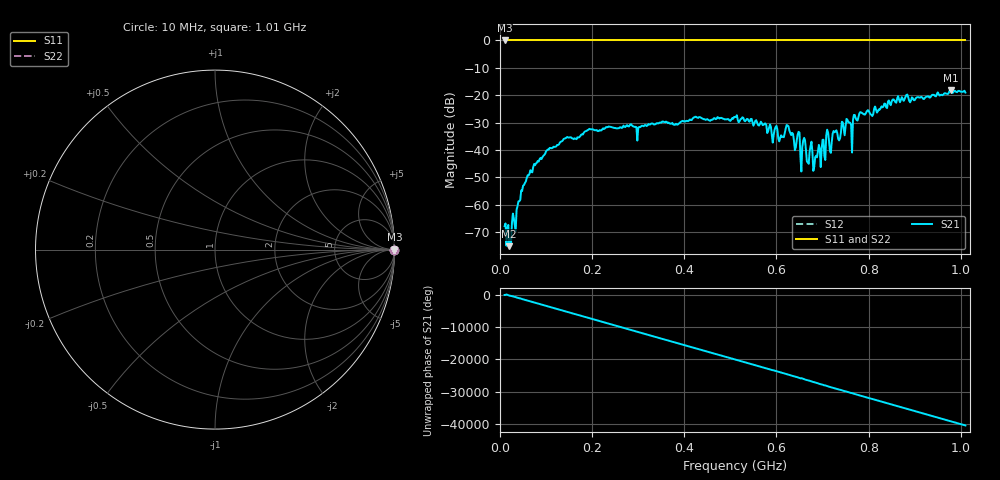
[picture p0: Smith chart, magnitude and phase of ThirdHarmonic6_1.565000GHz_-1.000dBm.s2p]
! 8/16/2025 6:36:14 PM
! C:\ANRITSUVNA\TEMP\TEMP.S2P
! CHANNEL.1
! TR.MEASUREMENT
! RAW.DATA
! RF.CORRECTION.OFF
! AVERAGING.OFF
! IF.BANDWIDTH: 5KHZ
! SWEEPTYPE:  FREQ.SWEEP(Linear)
! Reference Plane Port Info
! PORT:  PORT1  PORT2
! DISTANCE:  0  m  0  m
! TIME:  0  s  0  s
! PHASE.OFFSET:  0  deg.  0  deg.
! LOSS:  0  dB  0  dB
! REF.LOSS:  0  dB  0  dB
! REF.FREQ:  0  Hz  0  Hz
! Power Info
! POWER:  -20  dBm  -20  dBm
! EFF.POWER:  -20  dBm  -20  dBm
! SOURCE.ATTEN:  0  dB  0  dB
! TEST.ATTEN:  0  dB  0  dB
# GHZ S RI R 50.0
! FREQ.GHZ  S11RE  S11IM  S21RE  S21IM  S12RE  S12IM  S22RE  S22IM
!; PortSelection: Port_12
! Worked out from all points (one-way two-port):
!   501 points, 10 MHz to 1.01 GHz, reference 50 ohm
!   highest |S21| = -18.18 dB at 978 MHz (marker M1); lowest = -75.1 dB at 20 MHz (marker M2)
!   lowest |S11| = 0.0 dB at 10 MHz (marker M3)
!   |S11| at or under -10 dB: nowhere
!   |S22| runs from 0.0 to 0.0 dB; largest |S21 - S12| = 1.1
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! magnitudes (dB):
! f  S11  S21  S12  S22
! 10 MHz  0.0  -67.7  0.0  0.0
! 20 MHz  0.0  -75.1  0.0  0.0
! 50 MHz  0.0  -53.0  0.0  0.0
! 76 MHz  0.0  -45.6  0.0  0.0
! 178 MHz  0.0  -34.2  0.0  0.0
! 344 MHz  0.0  -30.3  0.0  0.0
! 510 MHz  0.0  -27.9  0.0  0.0
! 608 MHz  0.0  -35.6  0.0  0.0
! 624 MHz  0.0  -31.0  0.0  0.0
! 656 MHz  0.0  -38.9  0.0  0.0
! 660 MHz  0.0  -35.5  0.0  0.0
! 668 MHz  0.0  -44.5  0.0  0.0
! 678 MHz  0.0  -40.7  0.0  0.0
! 684 MHz  0.0  -42.6  0.0  0.0
! 712 MHz  0.0  -33.6  0.0  0.0
! 718 MHz  0.0  -41.1  0.0  0.0
! 756 MHz  0.0  -29.9  0.0  0.0
! 760 MHz  0.0  -30.1  0.0  0.0
! 784 MHz  0.0  -26.3  0.0  0.0
! 844 MHz  0.0  -21.9  0.0  0.0
! 978 MHz  0.0  -18.2  0.0  0.0
! 1.01 GHz  0.0  -19.0  0.0  0.0
